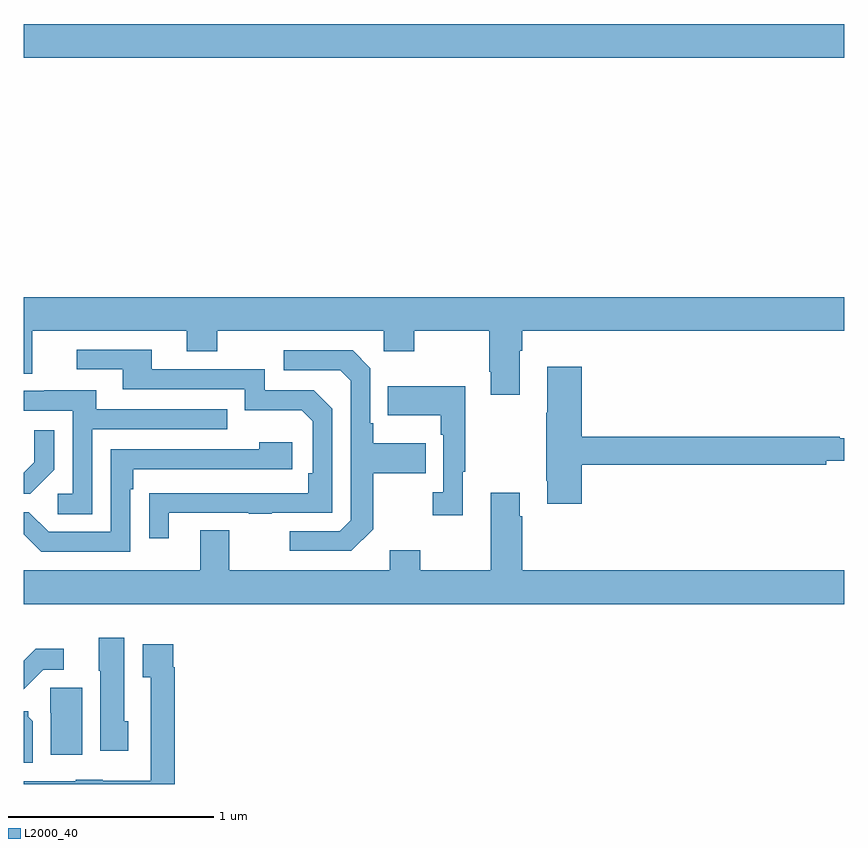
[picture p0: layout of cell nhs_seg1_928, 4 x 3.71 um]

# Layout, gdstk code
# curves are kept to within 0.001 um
import gdstk
lib = gdstk.Library(unit=1e-6, precision=1e-09)
def R(c, l, rs):  # rectangles x0, y0, x1, y1
    for r in rs: c.add(gdstk.rectangle(r[:2], r[2:], *l))
def P(c, l, *ps):  # polygons
    for p in ps: c.add(gdstk.Polygon(p, *l))
L2000_40 = (2000, 40)

nhs_seg1_928 = lib.new_cell('nhs_seg1_928')
R(nhs_seg1_928, L2000_40, [(161,543.74,165,543.904)])
P(nhs_seg1_928, L2000_40, [(163.417,542.312),(163.43,542.312),(163.43,542.408),(165,542.408),(165,542.572),(161,542.572),(161,542.2),(161.041,542.2),(161.041,542.408),(161.795,542.408),(161.795,542.309),(161.943,542.309),(161.943,542.408),(162.756,542.408),(162.756,542.309),(162.903,542.309),(162.903,542.408),(163.27,542.408),(163.27,542.209),(163.277,542.209),(163.277,542.097),(163.417,542.097)],
  [(161.707,541.521),(162.097,541.521),(162.097,541.516),(162.209,541.516),(162.209,541.521),(162.504,541.521),(162.504,542.028),(162.414,542.118),(162.174,542.118),(162.174,542.22),(161.623,542.22),(161.623,542.316),(161.259,542.316),(161.259,542.22),(161.483,542.22),(161.483,542.124),(162.078,542.124),(162.078,542.021),(162.355,542.021),(162.408,541.968),(162.408,541.714),(162.388,541.714),(162.388,541.617),(161.611,541.616),(161.611,541.398),(161.707,541.398)],
  [(162.703,541.441),(162.703,541.714),(162.959,541.714),(162.959,541.861),(162.703,541.861),(162.703,541.957),(162.69,541.957),(162.69,542.226),(162.603,542.313),(162.267,542.313),(162.267,542.217),(162.543,542.217),(162.594,542.166),(162.594,541.485),(162.54,541.431),(162.297,541.431),(162.297,541.335),(162.597,541.335)],
  [(163.721,541.756),(164.912,541.756),(164.912,541.775),(165,541.775),(165,541.885),(164.978,541.885),(164.978,541.892),(163.721,541.892),(163.721,542.233),(163.553,542.233),(163.553,542.009),(163.546,542.009),(163.546,541.678),(163.553,541.678),(163.553,541.566),(163.721,541.566)],
  [(163.141,541.721),(163.153,541.721),(163.153,542.137),(162.775,542.137),(162.775,541.997),(163.032,541.997),(163.032,541.901),(163.044,541.901),(163.044,541.622),(162.993,541.622),(162.993,541.509),(163.141,541.509)],
  [(161.334,541.929),(161.993,541.929),(161.993,542.025),(161.353,542.025),(161.353,542.119),(161.099,542.119),(161.099,542.115),(161,542.115),(161,542.019),(161.238,542.019),(161.238,541.614),(161.166,541.614),(161.166,541.513),(161.334,541.513)],
  [(161.148,541.73),(161.148,541.924),(161.051,541.924),(161.051,541.767),(161,541.716),(161,541.614),(161.032,541.614)],
  [(161.52,541.637),(161.533,541.637),(161.533,541.734),(162.31,541.734),(162.31,541.864),(162.149,541.864),(162.149,541.83),(161.424,541.83),(161.424,541.428),(161.121,541.428),(161.025,541.524),(161,541.524),(161,541.417),(161.085,541.332),(161.52,541.332)],
  [(165,541.24),(163.43,541.24),(163.43,541.505),(163.417,541.505),(163.417,541.618),(163.277,541.618),(163.277,541.24),(162.933,541.24),(162.933,541.339),(162.785,541.339),(162.785,541.24),(162.001,541.24),(162.001,541.435),(161.861,541.435),(161.861,541.24),(161,541.24),(161,541.076),(165,541.076)],
  [(161.509,540.504),(161.491,540.504),(161.491,540.913),(161.366,540.913),(161.366,540.75),(161.372,540.75),(161.372,540.36),(161.509,540.36)],
  [(161.735,540.767),(161.728,540.767),(161.728,540.88),(161.579,540.88),(161.579,540.719),(161.619,540.719),(161.619,540.214),(161.385,540.214),(161.385,540.22),(161.253,540.22),(161.253,540.213),(161,540.213),(161,540.199),(161.735,540.199)],
  [(161.094,540.756),(161.194,540.756),(161.194,540.859),(161.059,540.859),(161,540.8),(161,540.662)],
  [(161.284,540.669),(161.128,540.669),(161.128,540.546),(161.132,540.546),(161.132,540.342),(161.284,540.342)],
  [(161.044,540.506),(161.022,540.528),(161.022,540.553),(161,540.553),(161,540.302),(161.044,540.302)])

lib.write_gds('nhs_seg1_928.gds')
